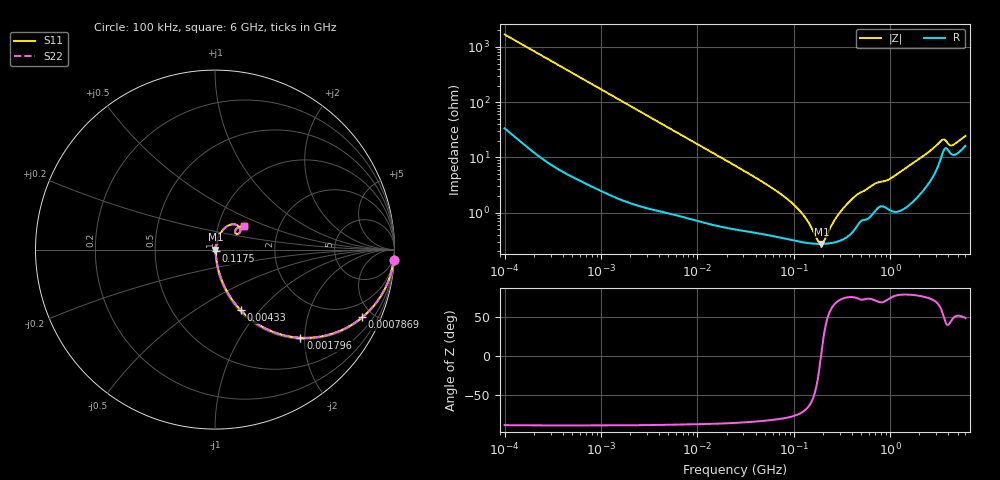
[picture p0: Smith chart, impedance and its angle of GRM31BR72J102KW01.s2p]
!Murata Part Number: GRM31BR72J102KW01
!These Parameters are Measured in Series Mode Connection
!Data Generated on Mar 30, 2021
!  o--ll--o
!Port1  Port2
!  o------o
!Operation Temp=25[degC], DC Bias Voltage=0[V]
!Freq. Start=100[kHz] Stop=6[GHz] 401[Steps]
# Hz S RI R 50
!Freq.(Hz) S11(Real) S11(Imag) S21(Real) S21(Imag) S12(Real) S12(Imag) S22(Real) S22(Imag)
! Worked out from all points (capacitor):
!   401 points, 100 kHz to 6 GHz, reference 50 ohm
!   read as one part in series: C = 946 pF near 105.7 kHz
!   lowest |Z| = 273 mohm at 192.7 MHz (marker M1)
!   series resonance near 191 MHz, so ESL is about 730 pH
!   S11 on the Smith chart (normalised r, x): 100 kHz: 2, -34; 786.9 kHz: 1.06, -4.32; 1.796 MHz: 1.03, -1.91; 4.33 MHz: 1.02, -0.80; 117.5 MHz: 1.01, -0.02; 6 GHz: 1.32, +0.37
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100000  0.9953 -0.0593  0.00473 0.0593  0.00473 0.0593  0.9953 -0.0593
261871  0.9746 -0.1507  0.0254 0.1507  0.0254 0.1507  0.9746 -0.1507
631452  0.8753 -0.3237  0.1247 0.3237  0.1247 0.3237  0.8753 -0.3237
786871  0.8204 -0.377  0.1796 0.377  0.1796 0.377  0.8204 -0.377
1795828  0.4762 -0.4912  0.5238 0.4912  0.5238 0.4912  0.4762 -0.4912
3987316  0.1631 -0.3573  0.8369 0.3573  0.8369 0.3573  0.1631 -0.3573
4330288  0.1429 -0.3373  0.8571 0.3373  0.8571 0.3373  0.1429 -0.3373
8612937  0.0457 -0.1909  0.9543 0.1909  0.9543 0.1909  0.0457 -0.1909
2.517799e7  0.00959 -0.0681  0.9904 0.0681  0.9904 0.0681  0.00959 -0.0681
6.966265e7  0.00409 -0.0227  0.9959 0.0227  0.9959 0.0227  0.00409 -0.0227
1.174795e8  0.00305 -0.00992  0.9969 0.00992  0.9969 0.00992  0.00305 -0.00992
1.546735e8  0.00278 -0.00422  0.9972 0.00422  0.9972 0.00422  0.00278 -0.00422
1.774773e8  0.00272 -0.00147  0.9973 0.00147  0.9973 0.00147  0.00272 -0.00147
1.927432e8  0.00272 0.000183  0.9973 -0.000183  0.9973 -0.000183  0.00272 0.000183
2.832789e8  0.00306 0.00826  0.9969 -0.00826  0.9969 -0.00826  0.00306 0.00826
4.050459e8  0.00471 0.0173  0.9953 -0.0173  0.9953 -0.0173  0.00471 0.0173
6.830718e8  0.0112 0.0308  0.9888 -0.0308  0.9888 -0.0308  0.0112 0.0308
9.76689e8  0.0125 0.0379  0.9875 -0.0379  0.9875 -0.0379  0.0125 0.0379
2.2912e9  0.0376 0.1018  0.9624 -0.1018  0.9624 -0.1018  0.0376 0.1018
3.367428e9  0.1132 0.14  0.8868 -0.14  0.8868 -0.14  0.1132 0.14
4.313271e9  0.1125 0.0942  0.8875 -0.0942  0.8875 -0.0942  0.1125 0.0942
6e9  0.1599 0.1327  0.8401 -0.1327  0.8401 -0.1327  0.1599 0.1327
